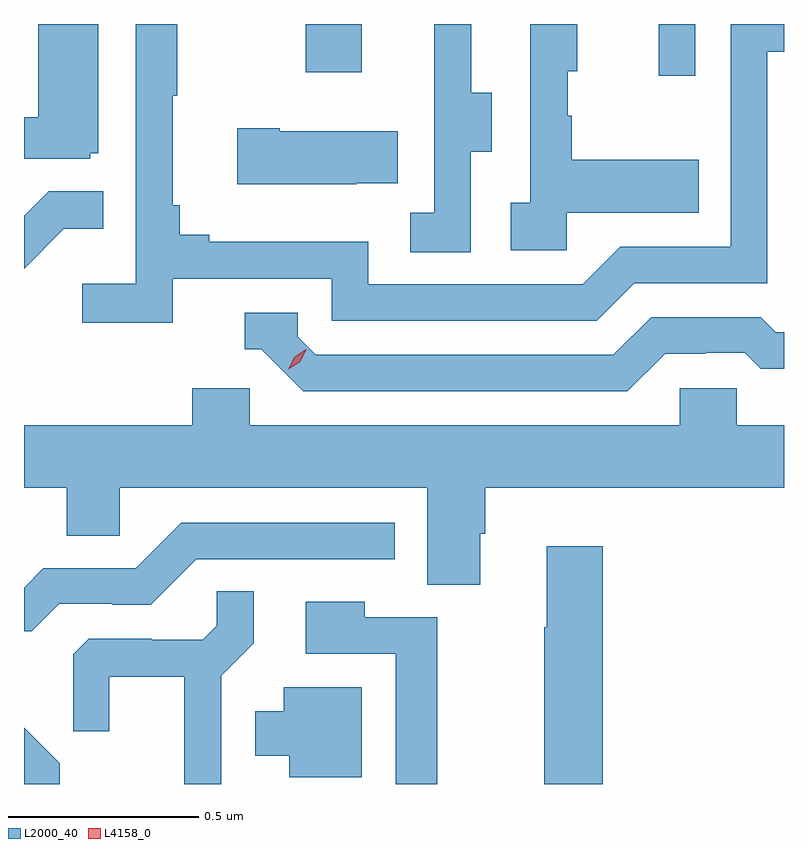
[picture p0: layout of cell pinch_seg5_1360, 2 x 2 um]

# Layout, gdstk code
import gdstk
lib = gdstk.Library(unit=1e-6, precision=1e-09)
def R(c, l, rs):  # rectangles x0, y0, x1, y1
    for r in rs: c.add(gdstk.rectangle(r[:2], r[2:], *l))
def P(c, l, *ps):  # polygons
    for p in ps: c.add(gdstk.Polygon(p, *l))
L2000_40 = (2000, 40)
L4158_0 = (4158, 0)

pinch_seg5_1360 = lib.new_cell('pinch_seg5_1360')
R(pinch_seg5_1360, L2000_40, [(312.608,899.136,312.705,899.272), (311.68,899.145,311.827,899.272)])
P(pinch_seg5_1360, L2000_40, [(311.112,898.932),(311.134,898.932),(311.134,899.272),(310.976,899.272),(310.976,899.026),(310.938,899.026),(310.938,898.917),(311.112,898.917)],
  [(312.366,898.775),(312.713,898.775),(312.713,898.915),(312.379,898.915),(312.379,899.03),(312.369,899.03),(312.369,899.148),(312.394,899.148),(312.394,899.272),(312.27,899.272),(312.27,898.802),(312.219,898.802),(312.219,898.677),(312.366,898.677)],
  [(312.114,898.936),(312.169,898.936),(312.169,899.091),(312.115,899.091),(312.115,899.272),(312.017,899.272),(312.017,899.079),(312.018,899.079),(312.018,898.775),(311.955,898.775),(311.955,898.672),(312.114,898.672)],
  [(311.33,898.602),(311.748,898.602),(311.748,898.491),(312.445,898.491),(312.544,898.59),(312.894,898.59),(312.894,899.199),(312.938,899.199),(312.938,899.272),(312.798,899.272),(312.798,898.686),(312.507,898.686),(312.408,898.587),(311.844,898.587),(311.844,898.699),(311.425,898.699),(311.425,898.718),(311.348,898.718),(311.348,898.795),(311.329,898.795),(311.329,899.083),(311.341,899.083),(311.341,899.272),(311.232,899.272),(311.232,898.588),(311.091,898.588),(311.091,898.486),(311.33,898.486)],
  [(311.813,898.853),(311.921,898.853),(311.921,898.99),(311.611,898.99),(311.611,898.998),(311.499,898.998),(311.499,898.85),(311.813,898.85)],
  [(311.043,898.733),(311.147,898.733),(311.147,898.832),(311.003,898.832),(310.938,898.767),(310.938,898.628)],
  [(312.625,898.404),(312.732,898.404),(312.732,898.407),(312.835,898.407),(312.877,898.365),(312.938,898.365),(312.938,898.461),(312.916,898.461),(312.877,898.5),(312.588,898.5),(312.489,898.401),(311.706,898.401),(311.658,898.449),(311.658,898.512),(311.519,898.512),(311.519,898.416),(311.562,898.416),(311.673,898.305),(312.526,898.305)],
  [(312.139,897.93),(312.152,897.93),(312.152,898.052),(312.938,898.052),(312.938,898.216),(312.813,898.216),(312.813,898.314),(312.663,898.314),(312.663,898.216),(311.532,898.216),(311.532,898.314),(311.381,898.314),(311.381,898.216),(310.938,898.216),(310.938,898.052),(311.051,898.052),(311.051,897.925),(311.19,897.925),(311.19,898.052),(311.999,898.052),(311.999,897.796),(312.139,897.796)],
  [(311.031,897.747),(311.17,897.747),(311.17,897.744),(311.271,897.744),(311.391,897.864),(311.914,897.864),(311.914,897.96),(311.352,897.96),(311.232,897.84),(310.989,897.84),(310.938,897.789),(310.938,897.674),(310.958,897.674)],
  [(312.461,897.898),(312.314,897.898),(312.314,897.685),(312.307,897.685),(312.307,897.272),(312.461,897.272)],
  [(311.457,897.557),(311.543,897.643),(311.543,897.779),(311.445,897.779),(311.445,897.688),(311.408,897.651),(311.274,897.651),(311.274,897.654),(311.109,897.654),(311.068,897.613),(311.068,897.411),(311.162,897.411),(311.162,897.554),(311.36,897.554),(311.36,897.272),(311.457,897.272)],
  [(312.025,897.711),(311.835,897.711),(311.835,897.751),(311.679,897.751),(311.679,897.615),(311.916,897.615),(311.916,897.272),(312.025,897.272)],
  [(311.827,897.526),(311.621,897.526),(311.621,897.463),(311.546,897.463),(311.546,897.347),(311.636,897.347),(311.636,897.29),(311.827,897.29)],
  [(311.032,897.326),(310.938,897.42),(310.938,897.272),(311.032,897.272)])
P(pinch_seg5_1360, L4158_0, [(311.634,898.364),(311.634,898.364),(311.65,898.397),(311.681,898.416),(311.681,898.416),(311.681,898.416),(311.665,898.383),(311.634,898.364)])

lib.write_gds('pinch_seg5_1360.gds')
